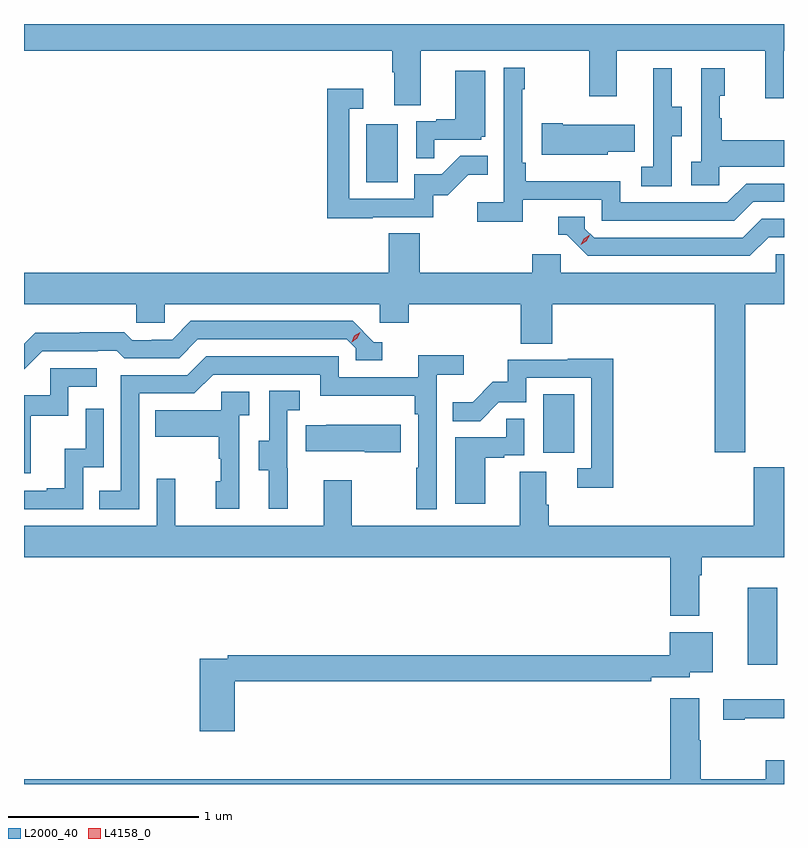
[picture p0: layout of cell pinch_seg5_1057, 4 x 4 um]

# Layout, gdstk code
import gdstk
lib = gdstk.Library(unit=1e-6, precision=1e-09)
def R(c, l, rs):  # rectangles x0, y0, x1, y1
    for r in rs: c.add(gdstk.rectangle(r[:2], r[2:], *l))
def P(c, l, *ps):  # polygons
    for p in ps: c.add(gdstk.Polygon(p, *l))
L2000_40 = (2000, 40)
L4158_0 = (4158, 0)

pinch_seg5_1057 = lib.new_cell('pinch_seg5_1057')
R(pinch_seg5_1057, L2000_40, [(870.401,864.186,870.556,864.592), (869.324,865.302,869.488,865.609), (868.394,866.724,868.558,867.031)])
P(pinch_seg5_1057, L2000_40, [(868.681,867.416),(869.566,867.416),(869.566,867.177),(869.713,867.177),(869.713,867.416),(870.494,867.416),(870.494,867.168),(870.591,867.168),(870.591,867.416),(870.592,867.416),(870.592,867.558),(866.592,867.558),(866.592,867.416),(868.529,867.416),(868.529,867.304),(868.541,867.304),(868.541,867.13),(868.681,867.13)],
  [(869.216,866.634),(869.634,866.634),(869.634,866.523),(870.331,866.523),(870.43,866.622),(870.592,866.622),(870.592,866.718),(870.393,866.718),(870.294,866.619),(869.73,866.619),(869.73,866.731),(869.234,866.731),(869.234,866.827),(869.214,866.827),(869.214,867.215),(869.227,867.215),(869.227,867.328),(869.118,867.328),(869.118,866.62),(868.977,866.62),(868.977,866.518),(869.216,866.518)],
  [(870,866.968),(870.055,866.968),(870.055,867.123),(870.001,867.123),(870.001,867.325),(869.903,867.325),(869.903,867.111),(869.904,867.111),(869.904,866.807),(869.841,866.807),(869.841,866.704),(870,866.704)],
  [(870.252,866.807),(870.592,866.807),(870.592,866.947),(870.265,866.947),(870.265,867.062),(870.255,867.062),(870.255,867.18),(870.28,867.18),(870.28,867.325),(870.156,867.325),(870.156,866.834),(870.105,866.834),(870.105,866.709),(870.252,866.709)],
  [(868.751,866.949),(868.998,866.949),(868.998,866.964),(869.02,866.964),(869.02,867.313),(868.862,867.313),(868.862,867.058),(868.763,867.058),(868.763,867.045),(868.656,867.045),(868.656,866.851),(868.751,866.851)],
  [(868.427,866.541),(868.746,866.541),(868.746,866.658),(868.822,866.658),(868.929,866.765),(869.033,866.765),(869.033,866.864),(868.889,866.864),(868.791,866.766),(868.647,866.766),(868.647,866.637),(868.305,866.637),(868.305,867.111),(868.378,867.111),(868.378,867.217),(868.189,867.217),(868.189,866.536),(868.427,866.536)],
  [(869.664,866.885),(869.807,866.885),(869.807,867.028),(869.428,867.028),(869.428,867.036),(869.316,867.036),(869.316,866.87),(869.664,866.87)],
  [(870.511,866.436),(870.592,866.436),(870.592,866.532),(870.474,866.532),(870.375,866.433),(869.592,866.433),(869.544,866.481),(869.544,866.544),(869.405,866.544),(869.405,866.448),(869.448,866.448),(869.559,866.337),(870.412,866.337)],
  [(870.387,866.084),(870.592,866.084),(870.592,866.346),(870.549,866.346),(870.549,866.248),(869.418,866.248),(869.418,866.346),(869.267,866.346),(869.267,866.248),(868.676,866.248),(868.676,866.456),(868.511,866.456),(868.511,866.248),(866.592,866.248),(866.592,866.084),(867.183,866.084),(867.183,865.986),(867.333,865.986),(867.333,866.084),(868.464,866.084),(868.464,865.986),(868.616,865.986),(868.616,866.084),(869.207,866.084),(869.207,865.876),(869.372,865.876),(869.372,866.084),(870.227,866.084),(870.227,865.305),(870.387,865.305)],
  [(866.688,865.836),(866.981,865.836),(866.981,865.839),(867.08,865.839),(867.119,865.8),(867.408,865.8),(867.507,865.899),(868.29,865.899),(868.338,865.851),(868.338,865.788),(868.477,865.788),(868.477,865.884),(868.434,865.884),(868.323,865.995),(867.47,865.995),(867.371,865.896),(867.264,865.896),(867.264,865.893),(867.161,865.893),(867.119,865.936),(866.886,865.936),(866.886,865.933),(866.65,865.933),(866.592,865.875),(866.592,865.74)],
  [(867.198,865.614),(867.489,865.614),(867.588,865.713),(868.152,865.713),(868.152,865.601),(868.648,865.601),(868.648,865.505),(868.668,865.505),(868.668,865.223),(868.656,865.223),(868.656,865.005),(868.764,865.005),(868.764,865.712),(868.906,865.712),(868.906,865.814),(868.667,865.814),(868.667,865.698),(868.248,865.698),(868.248,865.809),(867.551,865.809),(867.452,865.71),(867.102,865.71),(867.102,865.101),(866.989,865.101),(866.989,865.005),(867.198,865.005)],
  [(869.693,865.796),(869.455,865.796),(869.455,865.791),(869.137,865.791),(869.137,865.674),(869.06,865.674),(868.953,865.567),(868.849,865.567),(868.849,865.468),(868.993,865.468),(869.091,865.566),(869.235,865.566),(869.235,865.695),(869.577,865.695),(869.577,865.221),(869.505,865.221),(869.505,865.116),(869.693,865.116)],
  [(866.627,865.497),(866.826,865.497),(866.826,865.65),(866.974,865.65),(866.974,865.746),(866.73,865.746),(866.73,865.605),(866.592,865.605),(866.592,865.194),(866.627,865.194)],
  [(867.98,865.221),(867.978,865.221),(867.978,865.525),(868.042,865.525),(868.042,865.628),(867.882,865.628),(867.882,865.365),(867.827,865.365),(867.827,865.21),(867.881,865.21),(867.881,865.008),(867.98,865.008)],
  [(867.726,865.499),(867.778,865.499),(867.778,865.623),(867.63,865.623),(867.63,865.525),(867.283,865.525),(867.283,865.385),(867.618,865.385),(867.618,865.271),(867.628,865.271),(867.628,865.152),(867.602,865.152),(867.602,865.008),(867.726,865.008)],
  [(866.904,865.224),(867.012,865.224),(867.012,865.534),(866.916,865.534),(866.916,865.322),(866.807,865.322),(866.807,865.114),(866.711,865.114),(866.711,865.101),(866.592,865.101),(866.592,865.005),(866.904,865.005)],
  [(869.02,865.275),(869.12,865.275),(869.12,865.287),(869.226,865.287),(869.226,865.481),(869.131,865.481),(869.131,865.383),(868.862,865.383),(868.862,865.032),(869.02,865.032)],
  [(868.576,865.45),(868.183,865.45),(868.183,865.447),(868.075,865.447),(868.075,865.31),(868.385,865.31),(868.385,865.303),(868.576,865.303)],
  [(870.145,864.656),(870.158,864.656),(870.158,864.752),(870.592,864.752),(870.592,865.225),(870.434,865.225),(870.434,864.916),(869.354,864.916),(869.354,865.028),(869.341,865.028),(869.341,865.202),(869.201,865.202),(869.201,864.916),(868.317,864.916),(868.317,865.156),(868.169,865.156),(868.169,864.916),(867.389,864.916),(867.389,865.165),(867.291,865.165),(867.291,864.916),(866.592,864.916),(866.592,864.752),(869.993,864.752),(869.993,864.443),(870.145,864.443)],
  [(867.701,864.1),(869.894,864.1),(869.894,864.12),(870.096,864.12),(870.096,864.146),(870.217,864.146),(870.217,864.358),(869.99,864.358),(869.99,864.236),(867.664,864.236),(867.664,864.216),(867.518,864.216),(867.518,863.835),(867.701,863.835)],
  [(870.592,863.683),(870.496,863.683),(870.496,863.584),(870.153,863.584),(870.153,863.789),(870.145,863.789),(870.145,864.01),(869.993,864.01),(869.993,863.584),(866.592,863.584),(866.592,863.558),(870.592,863.558)],
  [(870.385,863.905),(870.592,863.905),(870.592,864.003),(870.548,864.003),(870.548,864.005),(870.273,864.005),(870.273,863.895),(870.385,863.895)])
P(pinch_seg5_1057, L4158_0, [(869.521,866.395),(869.521,866.395),(869.537,866.428),(869.568,866.446),(869.569,866.446),(869.569,866.446),(869.552,866.414),(869.521,866.395)],
  [(868.316,865.884),(868.316,865.884),(868.331,865.916),(868.362,865.936),(868.362,865.936),(868.362,865.936),(868.346,865.903),(868.316,865.884)])

lib.write_gds('pinch_seg5_1057.gds')
